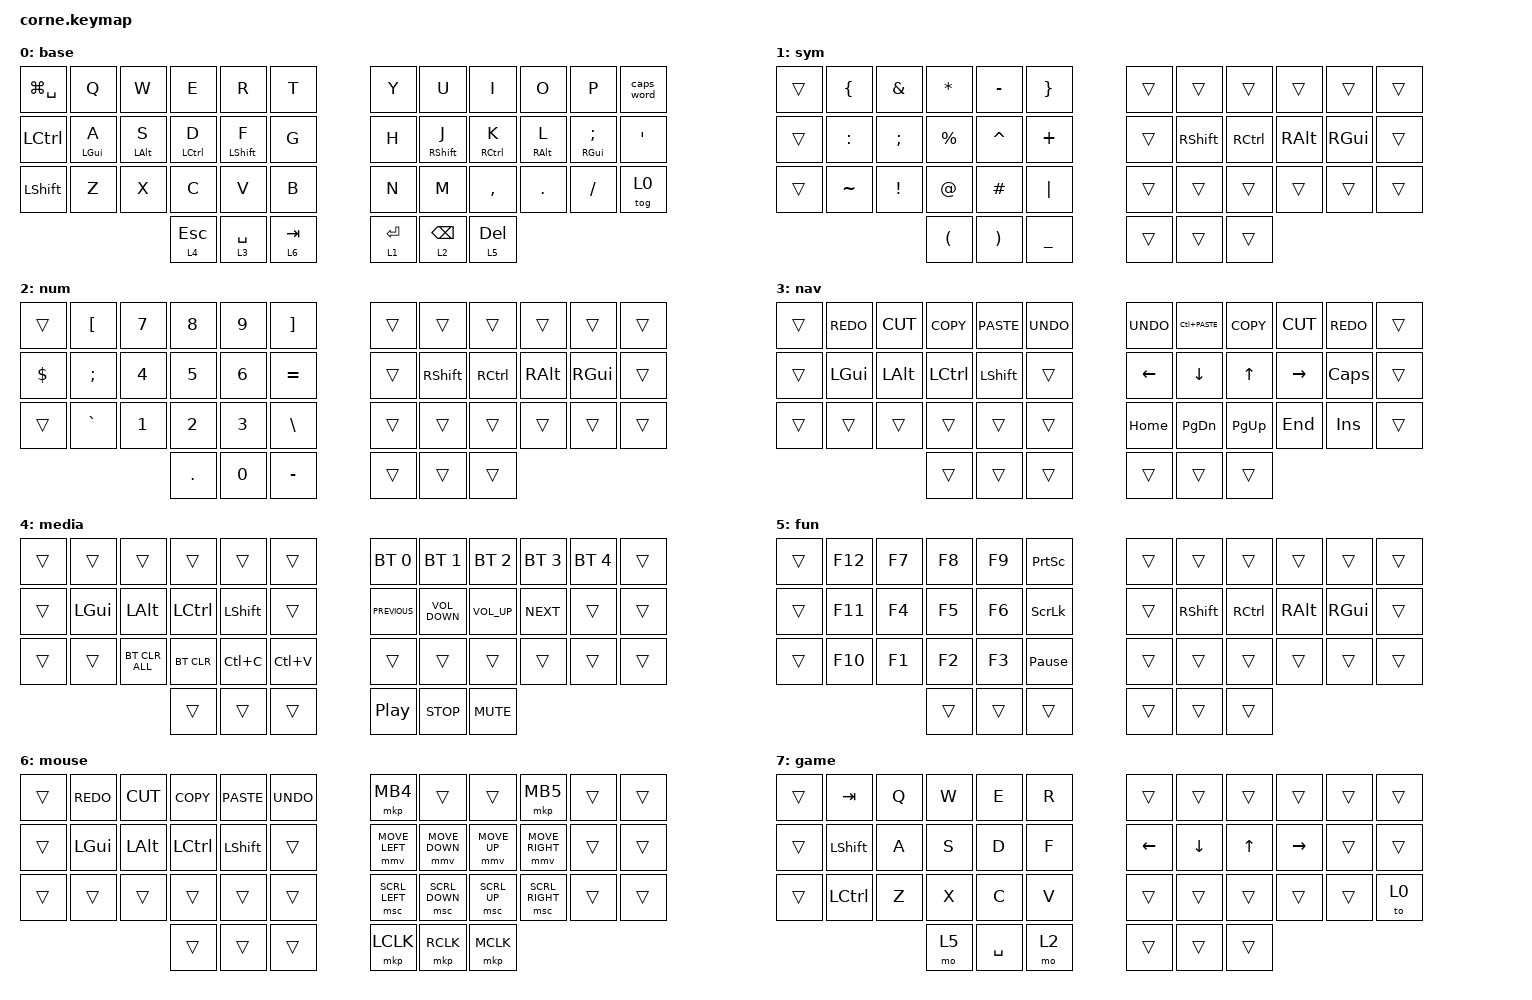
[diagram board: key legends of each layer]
/*
 * Copyright (c) 2020 The ZMK Contributors
 *
 * SPDX-License-Identifier: MIT
 */

#define ZMK_POINTING_DEFAULT_MOVE_VAL 1500  // default: 600
#define ZMK_POINTING_DEFAULT_SCRL_VAL 20    // default: 10

#include <behaviors.dtsi>
#include <dt-bindings/zmk/bt.h>
#include <dt-bindings/zmk/keys.h>
#include <dt-bindings/zmk/pointing.h>

/ {
    combos {
        compatible = "zmk,combos";

        combo_game {
            bindings = <&tog 7>;
            key-positions = <36 41>;
            timeout-ms = <200>;
        };

        game_esc {
            bindings = <&kp ESC>;
            key-positions = <1 2>;
            layers = <7>;
        };

        lang {
            bindings = <&switch_lang>;
            key-positions = <39 38>;
        };

        term {
            bindings = <&term>;
            key-positions = <37 40>;
        };
    };

    behaviors {
        hml: hml {
            compatible = "zmk,behavior-hold-tap";
            bindings = <&kp>, <&kp>;

            #binding-cells = <2>;
            tapping-term-ms = <220>;
            quick-tap-ms = <175>;
            flavor = "balanced";
            require-prior-idle-ms = <100>;
            hold-trigger-key-positions = <39 40 41 30 18 6 7 9 10 11 18 19 20 21 22 23 30 31 32 33 34 35 40 41 8 36 37 38>;
            hold-trigger-on-release;
        };

        hmr: hmr {
            compatible = "zmk,behavior-hold-tap";
            bindings = <&kp>, <&kp>;

            #binding-cells = <2>;
            tapping-term-ms = <220>;
            quick-tap-ms = <175>;
            require-prior-idle-ms = <100>;
            flavor = "balanced";
            hold-trigger-key-positions = <0 1 2 3 4 5 12 13 14 15 16 17 24 25 26 27 28 29 36 37 38 39 40 41>;
            hold-trigger-on-release;
        };

        tkl: tkl {
            compatible = "zmk,behavior-hold-tap";
            bindings = <&mo>, <&kp>;

            #binding-cells = <2>;
            tapping-term-ms = <220>;
            quick-tap-ms = <175>;
            flavor = "balanced";
            require-prior-idle-ms = <100>;
            hold-trigger-key-positions = <39 40 41 30 18 6 7 9 10 11 18 19 20 21 22 23 30 31 32 33 34 35 40 41 8 38 37 36>;
            hold-trigger-on-release;
        };

        tkr: tkr {
            compatible = "zmk,behavior-hold-tap";
            bindings = <&mo>, <&kp>;

            #binding-cells = <2>;
            tapping-term-ms = <220>;
            quick-tap-ms = <175>;
            require-prior-idle-ms = <100>;
            flavor = "balanced";
            hold-trigger-key-positions = <0 1 2 3 4 5 12 13 14 15 16 17 24 25 26 27 28 29 36 37 38 39 40 41>;
            hold-trigger-on-release;
        };
    };

    macros {
        copy_macro: copy_macro {
            compatible = "zmk,behavior-macro";
            #binding-cells = <0>;
            bindings = <&macro_press>;
        };

        switch_lang: switch_lang {
            compatible = "zmk,behavior-macro";
            #binding-cells = <0>;
            bindings =
                <&macro_press>,
                <&kp LGUI>,
                <&macro_tap>,
                <&kp SPACE>,
                <&macro_release>,
                <&kp LGUI>;
        };

        term: term {
            compatible = "zmk,behavior-macro";
            #binding-cells = <0>;
            bindings =
                <&macro_press>,
                <&kp LEFT_GUI>,
                <&macro_tap>,
                <&kp Z>,
                <&macro_release>,
                <&kp LEFT_GUI>;

            label = "TERM";
        };
    };

    keymap {
        compatible = "zmk,keymap";

        base {
            // -----------------------------------------------------------------------------------------
            // |  TAB |  Q  |  W  |  E  |  R  |  T  |   |  Y  |  U   |  I  |  O  |  P  | BKSP |
            // | CTRL |  A  |  S  |  D  |  F  |  G  |   |  H  |  J   |  K  |  L  |  ;  |  '   |
            // | SHFT |  Z  |  X  |  C  |  V  |  B  |   |  N  |  M   |  ,  |  .  |  /  | ESC  |
            //                    | GUI | LWR | SPC |   | ENT | RSE  | ALT |

            bindings = <
&kp LG(SPACE)   &kp Q            &kp W            &kp E                &kp R              &kp T         &kp Y         &kp U               &kp I                 &kp O             &kp P                     &caps_word
&kp LCTRL       &hml LEFT_GUI A  &hml LEFT_ALT S  &hml LEFT_CONTROL D  &hml LEFT_SHIFT F  &kp G         &kp H         &hmr RIGHT_SHIFT J  &hmr RIGHT_CONTROL K  &hmr RIGHT_ALT L  &hmr RIGHT_GUI SEMICOLON  &kp APOS
&kp LEFT_SHIFT  &kp Z            &kp X            &kp C                &kp V              &kp B         &kp N         &kp M               &kp COMMA             &kp DOT           &kp FSLH                  &tog 0
                                                  &tkl 4 ESC           &tkl 3 SPACE       &tkl 6 TAB    &tkr 1 ENTER  &tkr 2 BACKSPACE    &tkr 5 DELETE
            >;
        };

        sym {
            // -----------------------------------------------------------------------------------------
            // |  TAB |  1  |  2  |  3  |  4  |  5  |   |  6  |  7  |  8  |  9  |  0  | BKSP |
            // | BTCLR| BT1 | BT2 | BT3 | BT4 | BT5 |   | LFT | DWN |  UP | RGT |     |      |
            // | SHFT |     |     |     |     |     |   |     |     |     |     |     |      |
            //                    | GUI |     | SPC |   | ENT |     | ALT |

            bindings = <
&trans  &kp LEFT_BRACE  &kp AMPERSAND    &kp ASTERISK          &kp MINUS              &kp RIGHT_BRACE    &trans  &trans     &trans     &trans    &trans    &trans
&trans  &kp COLON       &kp SEMICOLON    &kp PERCENT           &kp CARET              &kp PLUS           &trans  &kp RSHFT  &kp RCTRL  &kp RALT  &kp RGUI  &trans
&trans  &kp TILDE       &kp EXCLAMATION  &kp AT                &kp HASH               &kp PIPE           &trans  &trans     &trans     &trans    &trans    &trans
                                         &kp LEFT_PARENTHESIS  &kp RIGHT_PARENTHESIS  &kp UNDER          &trans  &trans     &trans
            >;
        };

        num {
            bindings = <
&trans      &kp LBKT   &kp N7  &kp N8   &kp N9  &kp RBKT     &trans  &trans     &trans     &trans    &trans    &trans
&kp DOLLAR  &kp SEMI   &kp N4  &kp N5   &kp N6  &kp EQUAL    &trans  &kp RSHFT  &kp RCTRL  &kp RALT  &kp RGUI  &trans
&trans      &kp GRAVE  &kp N1  &kp N2   &kp N3  &kp BSLH     &trans  &trans     &trans     &trans    &trans    &trans
                               &kp DOT  &kp N0  &kp MINUS    &trans  &trans     &trans
            >;
        };

        nav {
            bindings = <
&trans  &kp K_REDO  &kp K_CUT  &kp K_COPY  &kp K_PASTE  &kp K_UNDO    &kp K_UNDO      &kp LC(K_PASTE)  &kp K_COPY    &kp K_CUT  &kp K_REDO    &trans
&trans  &kp LGUI    &kp LALT   &kp LCTRL   &kp LSHFT    &trans        &kp LEFT_ARROW  &kp DOWN_ARROW   &kp UP_ARROW  &kp RIGHT  &kp CAPSLOCK  &trans
&trans  &trans      &trans     &trans      &trans       &trans        &kp HOME        &kp PAGE_DOWN    &kp PAGE_UP   &kp END    &kp INSERT    &trans
                               &trans      &trans       &trans        &trans          &trans           &trans
            >;
        };

        media {
            bindings = <
&trans  &trans    &trans          &trans      &trans     &trans       &bt BT_SEL 0      &bt BT_SEL 1       &bt BT_SEL 2     &bt BT_SEL 3  &bt BT_SEL 4  &trans
&trans  &kp LGUI  &kp LALT        &kp LCTRL   &kp LSHFT  &trans       &kp C_PREVIOUS    &kp C_VOLUME_DOWN  &kp C_VOLUME_UP  &kp C_NEXT    &trans        &trans
&trans  &trans    &bt BT_CLR_ALL  &bt BT_CLR  &kp LC(C)  &kp LC(V)    &trans            &trans             &trans           &trans        &trans        &trans
                                  &trans      &trans     &trans       &kp C_PLAY_PAUSE  &kp C_STOP         &kp C_MUTE
            >;
        };

        fun {
            bindings = <
&trans  &kp F12  &kp F7  &kp F8  &kp F9  &kp PRINTSCREEN    &trans  &trans     &trans     &trans    &trans    &trans
&trans  &kp F11  &kp F4  &kp F5  &kp F6  &kp SCROLLLOCK     &trans  &kp RSHFT  &kp RCTRL  &kp RALT  &kp RGUI  &trans
&trans  &kp F10  &kp F1  &kp F2  &kp F3  &kp PAUSE_BREAK    &trans  &trans     &trans     &trans    &trans    &trans
                         &trans  &trans  &trans             &trans  &trans     &trans
            >;
        };

        mouse {
            bindings = <
&trans  &kp K_REDO  &kp K_CUT     &kp K_COPY        &kp K_PASTE     &kp K_UNDO    &mkp MB4        &trans          &trans        &mkp MB5         &trans  &trans
&trans  &kp LGUI    &kp LEFT_ALT  &kp LEFT_CONTROL  &kp LEFT_SHIFT  &trans        &mmv MOVE_LEFT  &mmv MOVE_DOWN  &mmv MOVE_UP  &mmv MOVE_RIGHT  &trans  &trans
&trans  &trans      &trans        &trans            &trans          &trans        &msc SCRL_LEFT  &msc SCRL_DOWN  &msc SCRL_UP  &msc SCRL_RIGHT  &trans  &trans
                                  &trans            &trans          &trans        &mkp LCLK       &mkp RCLK       &mkp MCLK
            >;
        };

        game {
            bindings = <
&trans  &kp TAB           &kp Q  &kp W  &kp E      &kp R    &trans    &trans          &trans        &trans           &trans  &trans
&trans  &kp LEFT_SHIFT    &kp A  &kp S  &kp D      &kp F    &kp LEFT  &kp DOWN_ARROW  &kp UP_ARROW  &kp RIGHT_ARROW  &trans  &trans
&trans  &kp LEFT_CONTROL  &kp Z  &kp X  &kp C      &kp V    &trans    &trans          &trans        &trans           &trans  &to 0
                                 &mo 5  &kp SPACE  &mo 2    &trans    &trans          &trans
            >;
        };
    };
};
